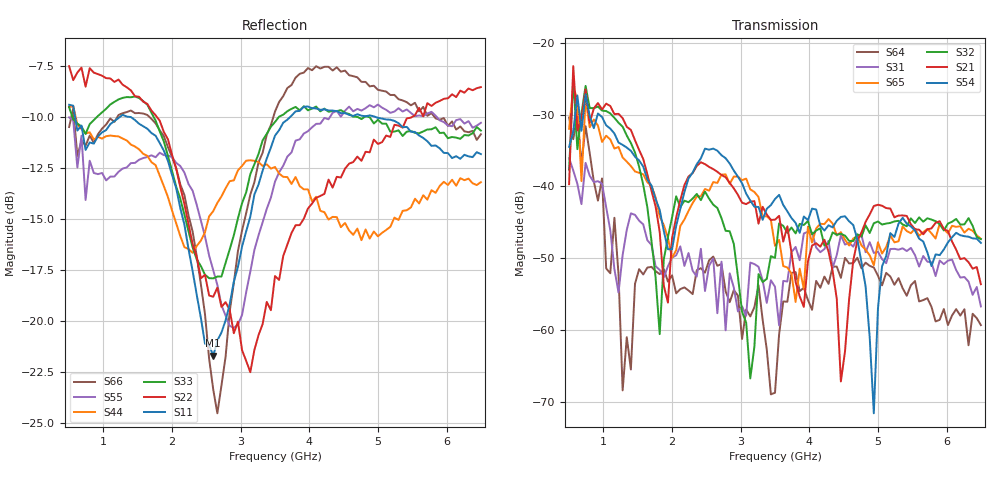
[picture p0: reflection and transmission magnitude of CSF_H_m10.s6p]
!Keysight Technologies,M9804A,MY58100912,A.14.10.03
!Date: Thursday, April 27, 2023 10:28:33
!Correction: S11(C  6-Port  )
!S12(C  6-Port  )
!S13(C  6-Port  )
!S14(C  6-Port  )
!S15(C  6-Port  )
!S16(C  6-Port  )
!S21(C  6-Port  )
!S22(C  6-Port  )
!S23(C  6-Port  )
!S24(C  6-Port  )
!S25(C  6-Port  )
!S26(C  6-Port  )
!S31(C  6-Port  )
!S32(C  6-Port  )
!S33(C  6-Port  )
!S34(C  6-Port  )
!S35(C  6-Port  )
!S36(C  6-Port  )
!S41(C  6-Port  )
!S42(C  6-Port  )
!S43(C  6-Port  )
!S44(C  6-Port  )
!S45(C  6-Port  )
!S46(C  6-Port  )
!S51(C  6-Port  )
!S52(C  6-Port  )
!S53(C  6-Port  )
!S54(C  6-Port  )
!S55(C  6-Port  )
!S56(C  6-Port  )
!S61(C  6-Port  )
!S62(C  6-Port  )
!S63(C  6-Port  )
!S64(C  6-Port  )
!S65(C  6-Port  )
!S66(C  6-Port  )
!S6P File: Measurement: :
# Hz S  RI  R 50
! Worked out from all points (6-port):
!   101 points, 500 MHz to 6.5 GHz, reference 50 ohm
!   strongest paths, dB at 500 MHz, 2 GHz, 3.5 GHz, 5 GHz, 6.5 GHz:
!     S54: -34.5, -48.7, -41.8, -57.0, -47.9
!     S21: -39.7, -47.2, -44.6, -42.5, -53.6
!     S32: -37.6, -44.3, -50.0, -44.9, -47.3
!     S65: -32.0, -49.9, -48.3, -47.8, -47.3
!     S31: -36.1, -49.9, -54.0, -49.1, -56.7
!     S64: -30.4, -52.4, -68.7, -52.4, -59.3
!   lowest |S11| = -21.7 dB at 2.6 GHz (marker M1), VSWR 1.18, Z = 42.6 + j1.99 ohm
!   |S11| at or under -10 dB: 587.7 MHz to 1.236 GHz (648.3 MHz wide, 71.1 % of centre); 1.402 GHz to 3.719 GHz (2.316 GHz wide, 90.5 % of centre); 4.972 GHz to end of sweep
